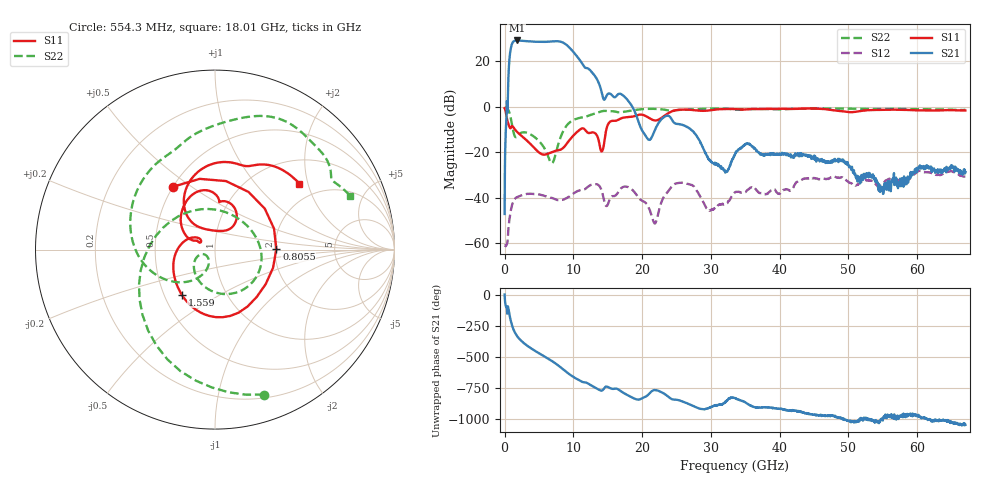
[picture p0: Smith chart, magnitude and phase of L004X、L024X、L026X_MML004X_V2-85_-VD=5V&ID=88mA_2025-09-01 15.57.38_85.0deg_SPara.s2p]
!Keysight Technologies,N5247B,MY63057157,A.17.10.07
!Date: Monday, September 01, 2025 16:04:36
!Correction: S11(C  2-Port  )
!S21(C  2-Port  )
!S12(C  2-Port  )
!S22(C  2-Port  )
!S2P File: Measurements: S11, S21, S12, S22:
# Hz S  dB  R 50
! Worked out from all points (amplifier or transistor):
!   1601 points, 10 MHz to 67 GHz, reference 50 ohm
!   highest |S21| = 29.2 dB at 1.768 GHz (marker M1)
!   |S21| within 3 dB of that: 943.4 MHz to 9.388 GHz (8.445 GHz wide, 163 % of centre)
!   unconditionally stable (mu >= 1): start of sweep to end of sweep
!   at 11.15 GHz: K = 2.23, MAG = 21.9 dB, |S12| = -36.6 dB
!   at 33.51 GHz: K = 20.02, MAG = -7.7 dB, |S12| = -37.5 dB
!   at 67 GHz: K = 36.15, MAG = -17.6 dB, |S12| = -30.7 dB
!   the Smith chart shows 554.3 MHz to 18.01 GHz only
!   S11 on the Smith chart (normalised r, x): 554.3 MHz: 0.50, +0.42; 805.5 MHz: 2.04, +0.01; 1.559 GHz: 0.62, -0.34; 18.01 GHz: 1.55, +1.77
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1e7  -0.61 -26.6  -47.10 6.9  -60.94 97.9  -0.14 -12.0
5.542938e8  -7.50 123.9  12.38 -101.8  -53.97 -112.2  -1.40 -71.5
8.055062e8  -9.32 0.5  23.71 -178.9  -47.53 -177.5  -3.53 -113.5
1.224194e9  -8.75 -99.3  28.53 95.9  -41.97 124.5  -10.04 157.4
1.559144e9  -10.12 -126.4  29.16 54.9  -40.21 92.8  -13.19 81.9
1.768488e9  -10.83 -138.3  29.23 36.0  -39.77 79.3  -13.19 43.9
2.605862e9  -13.10 -173.9  29.07 -15.6  -38.71 47.0  -11.22 -29.1
3.317631e9  -15.00 165.0  28.91 -46.9  -38.25 28.9  -11.44 -62.7
4.113138e9  -17.42 149.6  28.74 -76.8  -38.27 15.1  -12.70 -94.3
5.536675e9  -20.93 149.1  28.59 -124.4  -38.89 -5.2  -16.98 -145.6
7.085819e9  -19.68 155.0  28.84 -176.9  -40.33 -15.4  -24.08 -126.3
7.881325e9  -19.03 153.2  28.83 151.2  -40.96 -12.6  -15.76 -117.9
8.802438e9  -17.14 157.6  27.76 110.4  -40.41 -7.0  -9.19 -154.5
9.891025e9  -12.99 145.8  24.57 66.0  -38.34 -8.7  -6.01 160.4
1.118896e10  -9.56 111.1  19.56 24.8  -36.56 -24.1  -4.68 121.6
1.332426e10  -12.06 62.8  12.77 -29.2  -33.96 -64.6  -2.75 82.3
1.801356e10  -4.48 38.1  2.57 -89.2  -35.34 -100.4  -1.82 21.6
2.236791e10  -5.66 -0.5  -7.20 -50.2  -46.54 17.1  -0.95 -18.7
3.3505e10  -0.96 -81.4  -20.83 -108.5  -37.52 -119.6  -1.24 -74.1
4.468396e10  -0.72 -125.5  -21.95 118.6  -31.42 171.5  -0.73 -107.9
5.586291e10  -1.25 -152.1  -36.72 102.6  -31.69 123.8  -0.88 -139.7
6.7e10  -1.56 -179.9  -28.68 34.0  -30.67 62.3  -1.30 -172.0
